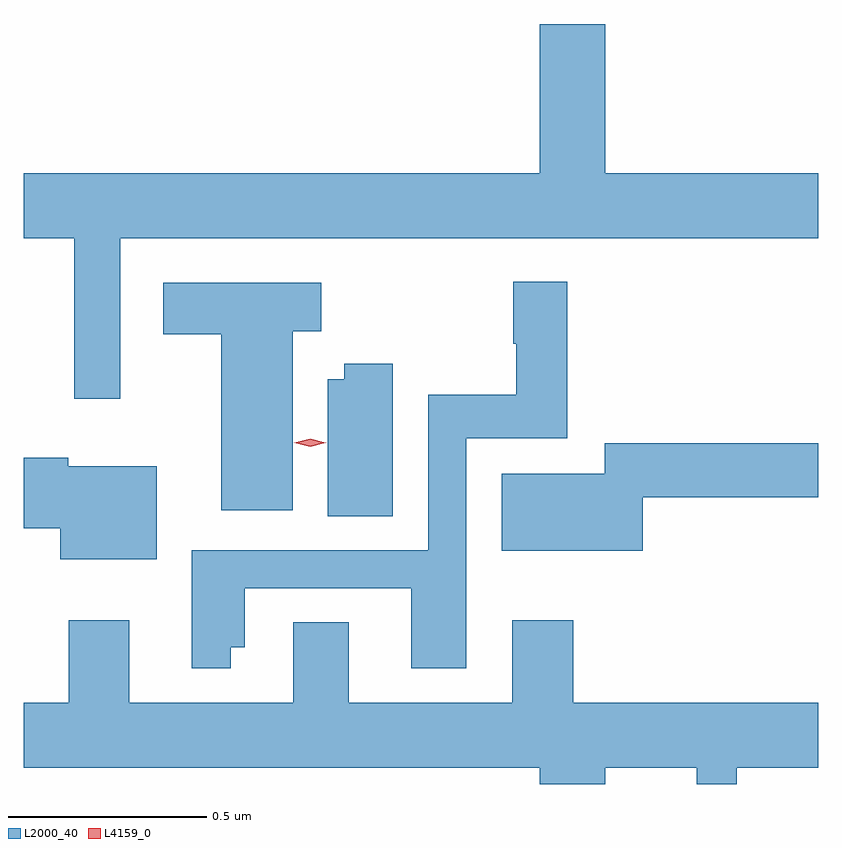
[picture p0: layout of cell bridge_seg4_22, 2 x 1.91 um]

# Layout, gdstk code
import gdstk
lib = gdstk.Library(unit=1e-6, precision=1e-09)
def P(c, l, *ps):  # polygons
    for p in ps: c.add(gdstk.Polygon(p, *l))
L2000_40 = (2000, 40)
L4159_0 = (4159, 0)

bridge_seg4_22 = lib.new_cell('bridge_seg4_22')
P(bridge_seg4_22, L2000_40, [(1075.041,775.508),(1076.797,775.508),(1076.797,775.672),(1076.26,775.672),(1076.26,776.047),(1076.096,776.047),(1076.096,775.672),(1074.797,775.672),(1074.797,775.508),(1074.925,775.508),(1074.925,775.104),(1075.041,775.104)],
  [(1075.318,774.479),(1075.354,774.479),(1075.354,774.627),(1075.772,774.627),(1075.772,774.426),(1075.911,774.426),(1075.911,775.005),(1076.165,775.005),(1076.165,775.399),(1076.029,775.399),(1076.029,775.242),(1076.037,775.242),(1076.037,775.114),(1075.815,775.114),(1075.815,774.723),(1075.22,774.723),(1075.22,774.426),(1075.318,774.426)],
  [(1075.474,775.274),(1075.546,775.274),(1075.546,775.396),(1075.149,775.396),(1075.149,775.267),(1075.295,775.267),(1075.295,774.824),(1075.474,774.824)],
  [(1075.726,775.192),(1075.604,775.192),(1075.604,775.153),(1075.562,775.153),(1075.562,774.808),(1075.726,774.808)],
  [(1076.355,774.856),(1076.797,774.856),(1076.797,774.992),(1076.259,774.992),(1076.259,774.916),(1076,774.916),(1076,774.722),(1076.355,774.722)],
  [(1075.132,774.934),(1074.91,774.934),(1074.91,774.956),(1074.797,774.956),(1074.797,774.778),(1074.89,774.778),(1074.89,774.701),(1075.132,774.701)],
  [(1076.26,774.176),(1076.491,774.176),(1076.491,774.135),(1076.591,774.135),(1076.591,774.176),(1076.797,774.176),(1076.797,774.34),(1076.18,774.34),(1076.18,774.547),(1076.027,774.547),(1076.027,774.34),(1075.615,774.34),(1075.615,774.542),(1075.475,774.542),(1075.475,774.34),(1075.063,774.34),(1075.063,774.547),(1074.911,774.547),(1074.911,774.34),(1074.797,774.34),(1074.797,774.176),(1076.096,774.176),(1076.096,774.135),(1076.26,774.135)])
P(bridge_seg4_22, L4159_0, [(1075.518,774.984),(1075.478,774.993),(1075.478,774.994),(1075.478,774.994),(1075.518,775.004),(1075.557,774.994),(1075.558,774.994),(1075.557,774.993)])

lib.write_gds('bridge_seg4_22.gds')
